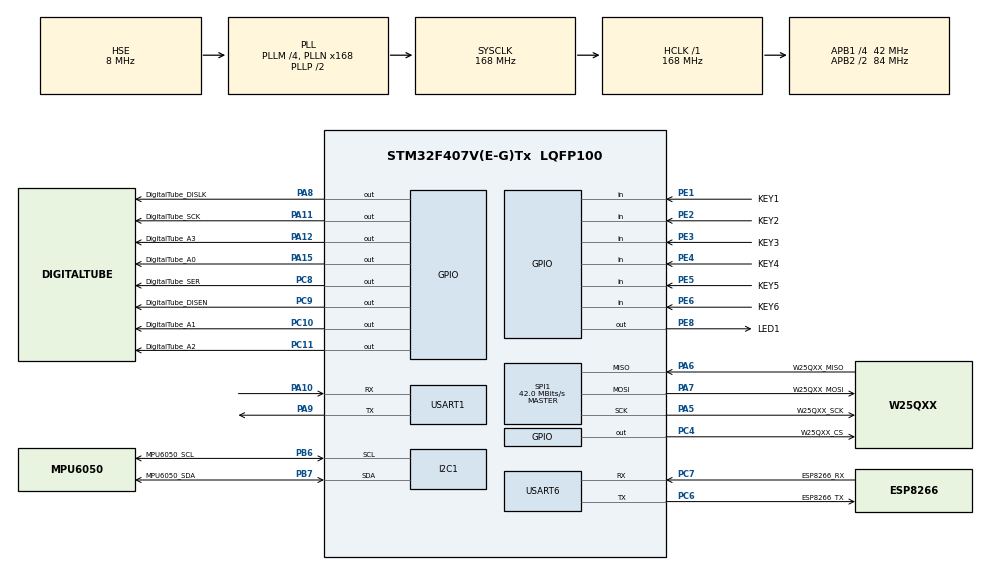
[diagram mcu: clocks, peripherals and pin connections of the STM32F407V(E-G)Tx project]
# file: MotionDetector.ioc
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FATFS._MAX_SS=4096
FREERTOS.HEAP_NUMBER=3
FREERTOS.Tasks01=MainTask,24,2048,StartMainTask,Default,NULL,Dynamic,NULL,NULL;KeyTask,24,4096,StartKeyTask,Default,NULL,Dynamic,NULL,NULL;DigitaTubeTask,24,256,StartDigitaTubeTask,Default,NULL,Dynamic,NULL,NULL;RTCTask,24,256,StartRTCTask,Default,NULL,Dynamic,NULL,NULL
FREERTOS.configTOTAL_HEAP_SIZE=80000
Mcu.Family=STM32F4
Mcu.Name=STM32F407V(E-G)Tx
Mcu.Package=LQFP100
NVIC.PriorityGroup=NVIC_PRIORITYGROUP_4
NVIC.TIM3_IRQn=true\:5\:0\:false\:false\:true\:true\:true\:true
NVIC.TIM8_TRG_COM_TIM14_IRQn=true\:0\:0\:false\:false\:true\:false\:false\:true
NVIC.TimeBase=TIM8_TRG_COM_TIM14_IRQn
NVIC.TimeBaseIP=TIM14
NVIC.USART6_IRQn=true\:5\:0\:false\:false\:true\:true\:true\:true
PA10.Mode=Asynchronous
PA10.Signal=USART1_RX
PA11.GPIO_Label=DigitalTube_SCK
PA11.Signal=GPIO_Output
PA12.GPIO_Label=DigitalTube_A3
PA12.Signal=GPIO_Output
PA13.Mode=Serial_Wire
PA13.Signal=SYS_JTMS-SWDIO
PA14.Mode=Serial_Wire
PA14.Signal=SYS_JTCK-SWCLK
PA15.GPIO_Label=DigitalTube_A0
PA15.Signal=GPIO_Output
PA5.GPIO_Label=W25QXX_SCK
PA5.Mode=Full_Duplex_Master
PA5.Signal=SPI1_SCK
PA6.GPIO_Label=W25QXX_MISO
PA6.Mode=Full_Duplex_Master
PA6.Signal=SPI1_MISO
PA7.GPIO_Label=W25QXX_MOSI
PA7.Mode=Full_Duplex_Master
PA7.Signal=SPI1_MOSI
PA8.GPIO_Label=DigitalTube_DISLK
PA8.Signal=GPIO_Output
PA9.Mode=Asynchronous
PA9.Signal=USART1_TX
PB6.GPIO_Label=MPU6050_SCL
PB6.Mode=I2C
PB6.Signal=I2C1_SCL
PB7.GPIO_Label=MPU6050_SDA
PB7.Mode=I2C
PB7.Signal=I2C1_SDA
PC10.GPIO_Label=DigitalTube_A1
PC10.Signal=GPIO_Output
PC11.GPIO_Label=DigitalTube_A2
PC11.Signal=GPIO_Output
PC14-OSC32_IN.Mode=LSE-External-Oscillator
PC14-OSC32_IN.Signal=RCC_OSC32_IN
PC15-OSC32_OUT.Mode=LSE-External-Oscillator
PC15-OSC32_OUT.Signal=RCC_OSC32_OUT
PC4.GPIO_Label=W25QXX_CS
PC4.Signal=GPIO_Output
PC6.GPIO_Label=ESP8266_TX
PC6.Mode=Asynchronous
PC6.Signal=USART6_TX
PC7.GPIO_Label=ESP8266_RX
PC7.Mode=Asynchronous
PC7.Signal=USART6_RX
PC8.GPIO_Label=DigitalTube_SER
PC8.Signal=GPIO_Output
PC9.GPIO_Label=DigitalTube_DISEN
PC9.Signal=GPIO_Output
PE1.GPIO_Label=KEY1
PE1.GPIO_PuPd=GPIO_PULLUP
PE1.Signal=GPIO_Input
PE2.GPIO_Label=KEY2
PE2.GPIO_PuPd=GPIO_PULLUP
PE2.Signal=GPIO_Input
PE3.GPIO_Label=KEY3
PE3.GPIO_PuPd=GPIO_PULLUP
PE3.Signal=GPIO_Input
PE4.GPIO_Label=KEY4
PE4.GPIO_PuPd=GPIO_PULLUP
PE4.Signal=GPIO_Input
PE5.GPIO_Label=KEY5
PE5.GPIO_PuPd=GPIO_PULLDOWN
PE5.Signal=GPIO_Input
PE6.GPIO_Label=KEY6
PE6.GPIO_PuPd=GPIO_PULLDOWN
PE6.Signal=GPIO_Input
PE8.GPIO_Label=LED1
PE8.PinState=GPIO_PIN_SET
PE8.Signal=GPIO_Output
PH0-OSC_IN.Mode=HSE-External-Oscillator
PH0-OSC_IN.Signal=RCC_OSC_IN
PH1-OSC_OUT.Mode=HSE-External-Oscillator
PH1-OSC_OUT.Signal=RCC_OSC_OUT
ProjectManager.HeapSize=0x4000
ProjectManager.StackSize=0x4000
ProjectManager.TargetToolchain=STM32CubeIDE
RCC.48MHZClocksFreq_Value=84000000
RCC.AHBFreq_Value=168000000
RCC.APB1CLKDivider=RCC_HCLK_DIV4
RCC.APB1Freq_Value=42000000
RCC.APB1TimFreq_Value=84000000
RCC.APB2CLKDivider=RCC_HCLK_DIV2
RCC.APB2Freq_Value=84000000
RCC.APB2TimFreq_Value=168000000
RCC.CortexFreq_Value=168000000
RCC.HCLKFreq_Value=168000000
RCC.HSE_VALUE=8000000
RCC.HSI_VALUE=16000000
RCC.PLLM=4
RCC.PLLN=168
RCC.PLLSourceVirtual=RCC_PLLSOURCE_HSE
RCC.RCC_RTC_Clock_Source=RCC_RTCCLKSOURCE_LSE
RCC.RCC_RTC_Clock_SourceVirtual=RCC_RTCCLKSOURCE_LSE
RCC.SYSCLKFreq_VALUE=168000000
RCC.SYSCLKSource=RCC_SYSCLKSOURCE_PLLCLK
RCC.VCOOutputFreq_Value=336000000
RTC.Date=19
RTC.Format=RTC_FORMAT_BIN
RTC.Hours=1
RTC.Minutes=5
RTC.Month=RTC_MONTH_DECEMBER
RTC.WeekDay=RTC_WEEKDAY_SATURDAY
RTC.Year=20
SPI1.CalculateBaudRate=42.0 MBits/s
SPI1.Direction=SPI_DIRECTION_2LINES
SPI1.Mode=SPI_MODE_MASTER
SPI1.VirtualType=VM_MASTER
TIM3.Period=10000-1
TIM3.Prescaler=84-1
USART1.VirtualMode=VM_ASYNC
USART6.VirtualMode=VM_ASYNC
VP_FATFS_VS_Generic.Mode=User_defined
VP_FREERTOS_VS_CMSIS_V2.Mode=CMSIS_V2
VP_RTC_VS_RTC_Activate.Mode=RTC_Enabled
VP_RTC_VS_RTC_Calendar.Mode=RTC_Calendar
VP_SYS_VS_tim14.Mode=TIM14
VP_TIM3_VS_ClockSourceINT.Mode=Internal
board=custom

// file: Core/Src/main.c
/* USER CODE BEGIN Header */
/**
  ******************************************************************************
  * @file           : main.c
  * @brief          : Main program body
  ******************************************************************************
  * @attention
  *
  * <h2><center>&copy; Copyright (c) 2020 STMicroelectronics.
  * All rights reserved.</center></h2>
  *
  * This software component is licensed by ST under Ultimate Liberty license
  * SLA0044, the "License"; You may not use this file except in compliance with
  * the License. You may obtain a copy of the License at:
  *                             www.st.com/SLA0044
  *
  ******************************************************************************
  */
/* USER CODE END Header */
#include "main.h"
#include "cmsis_os.h"
#include "fatfs.h"
#include "i2c.h"
#include "rtc.h"
#include "spi.h"
#include "tim.h"
#include "usart.h"
#include "gpio.h"

/* USER CODE BEGIN Includes */
#include <stdbool.h>
#include <stdio.h>
/* USER CODE END Includes */

/* USER CODE BEGIN PV */
uint32_t g_time_count = 0;//单位：百分秒
/* USER CODE END PV */

void SystemClock_Config(void);
void MX_FREERTOS_Init(void);

/* USER CODE BEGIN 0 */
void FS_Init(bool breset) //breset=true就重新生成新的文件
{
    BYTE work[4096]; // FATFS工作缓冲区
    FATFS fs;//文件系统对象
    FIL fil;//文件对象
    FRESULT res;//操作返回结果

    res = f_mount(&fs, "0:", 1);
    if (res == 0X0D) { // FLASH磁盘,FAT文件系统错误，重新格式化FLASH
        printf("Flash Disk Formatting...\r\n");//格式化FLASH
        res = f_mkfs("0:", FM_ANY, 0, work, sizeof(work));
        if (res != FR_OK) {
            printf("mkfs error.\r\n");
        }
    }
    if (res == FR_OK) {
        printf("FATFS Init ok!\r\n");
    }

    if (breset) {
        res = f_open(&fil, "0:/time.txt", FA_CREATE_ALWAYS);
    } else {
        res = f_open(&fil, "0:/time.txt", FA_CREATE_NEW);
    }
    if (res != FR_OK && res != FR_EXIST) {
        printf("create file error.\r\n");
    } else {
        printf("create time.txt ok\r\n");
        f_close(&fil);
    }

    if (breset) {
        res = f_open(&fil, "0:/data.txt", FA_CREATE_ALWAYS);
    } else {
        res = f_open(&fil, "0:/data.txt", FA_CREATE_NEW);
    }
    if (res != FR_OK && res != FR_EXIST) {
        printf("create file error.\r\n");
    } else {
        printf("create data.txt ok\r\n");
        f_close(&fil);
    }
}
/* USER CODE END 0 */

int main(void)
{

  /* MCU Configuration--------------------------------------------------------*/

  /* Reset of all peripherals, Initializes the Flash interface and the Systick. */
  HAL_Init();

  /* Configure the system clock */
  SystemClock_Config();

  /* Initialize all configured peripherals */
  MX_GPIO_Init();
  MX_I2C1_Init();
  MX_USART1_UART_Init();
  MX_USART6_UART_Init();
  MX_TIM3_Init();
  MX_RTC_Init();
  MX_SPI1_Init();
  MX_FATFS_Init();
  /* USER CODE BEGIN 2 */
    HAL_Delay(1000);
    FS_Init(false);
  /* USER CODE END 2 */

  /* Init scheduler */
  osKernelInitialize();  /* Call init function for freertos objects (in freertos.c) */
  MX_FREERTOS_Init();
  /* Start scheduler */
  osKernelStart();

  /* We should never get here as control is now taken by the scheduler */
  /* Infinite loop */
  while (1)
  {

  }
}

void SystemClock_Config(void)
{
  RCC_OscInitTypeDef RCC_OscInitStruct = {0};
  RCC_ClkInitTypeDef RCC_ClkInitStruct = {0};
  RCC_PeriphCLKInitTypeDef PeriphClkInitStruct = {0};

  /** Configure the main internal regulator output voltage
  */
  __HAL_RCC_PWR_CLK_ENABLE();
  __HAL_PWR_VOLTAGESCALING_CONFIG(PWR_REGULATOR_VOLTAGE_SCALE1);
  /** Initializes the RCC Oscillators according to the specified parameters
  * in the RCC_OscInitTypeDef structure.
  */
  RCC_OscInitStruct.OscillatorType = RCC_OSCILLATORTYPE_HSE|RCC_OSCILLATORTYPE_LSE;
  RCC_OscInitStruct.HSEState = RCC_HSE_ON;
  RCC_OscInitStruct.LSEState = RCC_LSE_ON;
  RCC_OscInitStruct.PLL.PLLState = RCC_PLL_ON;
  RCC_OscInitStruct.PLL.PLLSource = RCC_PLLSOURCE_HSE;
  RCC_OscInitStruct.PLL.PLLM = 4;
  RCC_OscInitStruct.PLL.PLLN = 168;
  RCC_OscInitStruct.PLL.PLLP = RCC_PLLP_DIV2;
  RCC_OscInitStruct.PLL.PLLQ = 4;
  if (HAL_RCC_OscConfig(&RCC_OscInitStruct) != HAL_OK)
  {
    Error_Handler();
  }
  /** Initializes the CPU, AHB and APB buses clocks
  */
  RCC_ClkInitStruct.ClockType = RCC_CLOCKTYPE_HCLK|RCC_CLOCKTYPE_SYSCLK
                              |RCC_CLOCKTYPE_PCLK1|RCC_CLOCKTYPE_PCLK2;
  RCC_ClkInitStruct.SYSCLKSource = RCC_SYSCLKSOURCE_PLLCLK;
  RCC_ClkInitStruct.AHBCLKDivider = RCC_SYSCLK_DIV1;
  RCC_ClkInitStruct.APB1CLKDivider = RCC_HCLK_DIV4;
  RCC_ClkInitStruct.APB2CLKDivider = RCC_HCLK_DIV2;

  if (HAL_RCC_ClockConfig(&RCC_ClkInitStruct, FLASH_LATENCY_5) != HAL_OK)
  {
    Error_Handler();
  }
  PeriphClkInitStruct.PeriphClockSelection = RCC_PERIPHCLK_RTC;
  PeriphClkInitStruct.RTCClockSelection = RCC_RTCCLKSOURCE_LSE;
  if (HAL_RCCEx_PeriphCLKConfig(&PeriphClkInitStruct) != HAL_OK)
  {
    Error_Handler();
  }
}

 /**
  * @brief  Period elapsed callback in non blocking mode
  * @note   This function is called  when TIM14 interrupt took place, inside
  * HAL_TIM_IRQHandler(). It makes a direct call to HAL_IncTick() to increment
  * a global variable "uwTick" used as application time base.
  * @param  htim : TIM handle
  * @retval None
  */
void HAL_TIM_PeriodElapsedCallback(TIM_HandleTypeDef *htim)
{
  if (htim->Instance == TIM14) {
    HAL_IncTick();
  }
  /* USER CODE BEGIN Callback 1 */
    if (htim->Instance == TIM3) {
        g_time_count++;
    }
  /* USER CODE END Callback 1 */
}

void Error_Handler(void)
{
  __disable_irq();
  while (1)
  {
  }
}

/************************ (C) COPYRIGHT STMicroelectronics *****END OF FILE****/

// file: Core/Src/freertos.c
/* USER CODE BEGIN Header */
/**
  ******************************************************************************
  * File Name          : freertos.c
  * Description        : Code for freertos applications
  ******************************************************************************
  * @attention
  *
  * <h2><center>&copy; Copyright (c) 2020 STMicroelectronics.
  * All rights reserved.</center></h2>
  *
  * This software component is licensed by ST under Ultimate Liberty license
  * SLA0044, the "License"; You may not use this file except in compliance with
  * the License. You may obtain a copy of the License at:
  *                             www.st.com/SLA0044
  *
  ******************************************************************************
  */
/* USER CODE END Header */

#include "FreeRTOS.h"
#include "task.h"
#include "main.h"
#include "cmsis_os.h"

/* USER CODE BEGIN Includes */
#include <stdio.h>
#include <stdbool.h>
#include <string.h>
#include "MPU6050.h"
#include "ESP8266.h"
#include "usart.h"
#include "tim.h"
#include "DigitalTube.h"
#include "rtc.h"
#include "fatfs.h"
#include "w25qxx.h"
/* USER CODE END Includes */

/* USER CODE BEGIN PD */
//WIFI配置
#define WIFI_NAME       "MotionDetector"
#define WIFI_PASSWD     "12345678"
#define UDP_IP          "192.168.4.2"
#define UDP_PORT        9000
//W25QXX FLASH 参数记录
#define SET_ADDR (10 * 4096)
/* USER CODE END PD */

/* USER CODE BEGIN Variables */
extern uint32_t g_time_count;

uint8_t g_seg_show = 2;//数码管默认显示秒、百分秒
uint8_t g_timetxt_count = 0;
bool g_mpu_start = false;
bool g_mpu_save = false;
char g_mpu_data[300][100];
/* USER CODE END Variables */
/* Definitions for MainTask */
osThreadId_t MainTaskHandle;
const osThreadAttr_t MainTask_attributes = {
  .name = "MainTask",
  .priority = (osPriority_t) osPriorityNormal,
  .stack_size = 2048 * 4
};
/* Definitions for KeyTask */
osThreadId_t KeyTaskHandle;
const osThreadAttr_t KeyTask_attributes = {
  .name = "KeyTask",
  .priority = (osPriority_t) osPriorityNormal,
  .stack_size = 4096 * 4
};
/* Definitions for DigitaTubeTask */
osThreadId_t DigitaTubeTaskHandle;
const osThreadAttr_t DigitaTubeTask_attributes = {
  .name = "DigitaTubeTask",
  .priority = (osPriority_t) osPriorityNormal,
  .stack_size = 256 * 4
};
/* Definitions for RTCTask */
osThreadId_t RTCTaskHandle;
const osThreadAttr_t RTCTask_attributes = {
  .name = "RTCTask",
  .priority = (osPriority_t) osPriorityNormal,
  .stack_size = 256 * 4
};

/* USER CODE BEGIN FunctionPrototypes */
void SaveTime(void);

void PrintfTime(void);

void SaveTimeCount(uint32_t addr, int data);

int LoadTimeCount(uint32_t addr);

void SaveData(void);

void PrintfData(void);

/* USER CODE END FunctionPrototypes */

void StartMainTask(void *argument);
void StartKeyTask(void *argument);
void StartDigitaTubeTask(void *argument);
void StartRTCTask(void *argument);

void MX_FREERTOS_Init(void); /* (MISRA C 2004 rule 8.1) */

void MX_FREERTOS_Init(void) {

  /* Create the thread(s) */
  /* creation of MainTask */
  MainTaskHandle = osThreadNew(StartMainTask, NULL, &MainTask_attributes);

  /* creation of KeyTask */
  KeyTaskHandle = osThreadNew(StartKeyTask, NULL, &KeyTask_attributes);

  /* creation of DigitaTubeTask */
  DigitaTubeTaskHandle = osThreadNew(StartDigitaTubeTask, NULL, &DigitaTubeTask_attributes);

  /* creation of RTCTask */
  RTCTaskHandle = osThreadNew(StartRTCTask, NULL, &RTCTask_attributes);

}

void StartMainTask(void *argument)
{
  /* USER CODE BEGIN StartMainTask */
    uint32_t tick = 0;
    int mpu_data_count = 0;

    float SelfTest[6];               // Gyro and accelerometer self-test sensor output
    float aRes, gRes;                // scale resolutions per LSB for the sensors
    int16_t accelCount[3];           // Stores the 16-bit signed accelerometer sensor output
    float ax, ay, az;                // Stores the real accel value in g's
    int16_t gyroCount[3];            // Stores the 16-bit signed gyro sensor output
    float gx, gy, gz;                // Stores the real gyro value in degrees per seconds
    float gyroBias[3], accelBias[3]; // Bias corrections for gyro and accelerometer
    int16_t tempCount;               // Stores the internal chip temperature sensor output
    float temperature;               // Scaled temperature in degrees Celsius

    if (MPU6050_Check() == MPU6050_ADDRESS) {
        MPU6050_SelfTest(SelfTest); // Start by performing self test and reporting values
        printf("x-axis self test: acceleration trim within : ");
        printf("%.1f", SelfTest[0]);
        printf("%% of factory value\r\n");
        printf("y-axis self test: acceleration trim within : ");
        printf("%.1f", SelfTest[1]);
        printf("%% of factory value\r\n");
        printf("z-axis self test: acceleration trim within : ");
        printf("%.1f", SelfTest[2]);
        printf("%% of factory value\r\n");
        printf("x-axis self test: gyration trim within : ");
        printf("%.1f", SelfTest[3]);
        printf("%% of factory value\r\n");
        printf("y-axis self test: gyration trim within : ");
        printf("%.1f", SelfTest[4]);
        printf("%% of factory value\r\n");
        printf("z-axis self test: gyration trim within : ");
        printf("%.1f", SelfTest[5]);
        printf("%% of factory value\r\n");

        if (SelfTest[0] < 1.0f && SelfTest[1] < 1.0f && SelfTest[2] < 1.0f && SelfTest[3] < 1.0f &&
            SelfTest[4] < 1.0f && SelfTest[5] < 1.0f) {
            printf("Pass Selftest!\r\n");

            MPU6050_calibrate(gyroBias, accelBias); // Calibrate gyro and accelerometers, load biases in bias registers
            MPU6050_init();
            printf("MPU6050 initialized for active data mode....\r\n"); // Initialize device for active mode read of acclerometer, gyroscope, and temperature
        } else {
            printf("Could not connect to MPU6050\r\n");
        }
    }

    HAL_UART_Receive_IT(&huart6, &rx_byte, 1);

    if (ESP8266_Init()) {
        printf("ESP8266 Init OK!\r\n");
    } else {
        printf("ESP8266 Init FAIL!\r\n");
    }

    if (ESP8266_AP(WIFI_NAME, WIFI_PASSWD)) {
        printf("ESP8266 Create AP OK!\r\n");
    } else {
        printf("ESP8266 Create AP FAIL!\r\n");
    }
//    if (ESP8266_UDP_Connect(UDP_IP,UDP_PORT)) {
//        printf("ESP8266 Create UDP OK!\r\n");
//    } else {
//        printf("ESP8266 Create UDP FAIL!\r\n");
//    }

    /* Infinite loop */
    for (;;) {
        if (g_mpu_start == true) {
            if (MPU6050_readByte(MPU6050_ADDRESS, INT_STATUS) & 0x01) {  // check if data ready interrupt
                MPU6050_readAccelData(accelCount);  // Read the x/y/z adc values
                aRes = MPU6050_getAres();

                // Now we'll calculate the accleration value into actual g's
                ax = (float) accelCount[0] * aRes -
                     accelBias[0];  // get actual g value, this depends on scale being set
                ay = (float) accelCount[1] * aRes - accelBias[1];
                az = (float) accelCount[2] * aRes - accelBias[2];

                MPU6050_readGyroData(gyroCount);  // Read the x/y/z adc values
                gRes = MPU6050_getGres();

                // Calculate the gyro value into actual degrees per second
                gx = (float) gyroCount[0] * gRes -
                     gyroBias[0];  // get actual gyro value, this depends on scale being set
                gy = (float) gyroCount[1] * gRes - gyroBias[1];
                gz = (float) gyroCount[2] * gRes - gyroBias[2];

                tempCount = MPU6050_readTempData();  // Read the x/y/z adc values
                temperature = ((float) tempCount) / 340. + 36.53; // Temperature in degrees Centigrade

                uint8_t test_min = (g_time_count / 100) / 60;
                uint8_t test_sec = (g_time_count / 100) % 60;
                uint8_t test_sec_100 = g_time_count % 100;
                sprintf(g_mpu_data[mpu_data_count],
                        "ax:%.1f,ay:%.1f,az:%.1f mg gx:%.1f,gy:%.1f,gz:%.1f deg/s (%02d:%02d:%02d)\r\n",
                        1000 * ax, 1000 * ay, 1000 * az, gx, gy, gz, test_min, test_sec, test_sec_100);
                printf("%s",g_mpu_data[mpu_data_count]);
                mpu_data_count++;
            }
        }

        if (g_mpu_save == true) {
            g_mpu_save = false;
            mpu_data_count = 0;
            SaveData();
            for (int i = 0; i < 300; ++i) {
                strcpy(g_mpu_data[i], (char *)'\0');
                printf("%s", g_mpu_data[i]);
            }
        }
        /*       if (osKernelGetTickCount() - tick > 500) {//500ms
                   // Print acceleration values in milligs!
                   printf("X-acceleration: ");
                   printf("%.1f", 1000 * ax);
                   printf(" mg ");
                   printf("Y-acceleration: ");
                   printf("%.1f", 1000 * ay);
                   printf(" mg ");
                   printf("Z-acceleration: ");
                   printf("%.1f", 1000 * az);
                   printf(" mg\r\n");

                   // Print gyro values in degree/sec
                   printf("X-gyro rate: ");
                   printf("%.1f", gx);
                   printf(" degrees/sec ");
                   printf("Y-gyro rate: ");
                   printf("%.1f", gy);
                   printf(" degrees/sec ");
                   printf("Z-gyro rate: ");
                   printf("%.1f", gz);
                   printf(" degrees/sec\r\n");

                   // Print temperature in degrees Centigrade
                   printf("Temperature is ");
                   printf("%.2f", temperature);
                   printf(" degrees C\r\n"); // Print T values to tenths of s degree C
                   printf("\r\n");

                   tick = osKernelGetTickCount();
               }*/
        osDelay(50);
    }
  /* USER CODE END StartMainTask */
}

void StartKeyTask(void *argument)
{
  /* USER CODE BEGIN StartKeyTask */
    uint8_t key_state;

    W25QXX_Init();
    printf("W25QXX FLASH ID = 0x%04X\r\n", W25QXX_ReadID());
    g_timetxt_count = LoadTimeCount(SET_ADDR);
    printf("Time Count = %lu\r\n", g_time_count);
    /* Infinite loop */
    for (;;) {
        //扫描按键
        key_state = 0;
        if (HAL_GPIO_ReadPin(KEY1_GPIO_Port, KEY1_Pin) == GPIO_PIN_RESET) {
            osDelay(10);
            if (HAL_GPIO_ReadPin(KEY1_GPIO_Port, KEY1_Pin) == GPIO_PIN_RESET) {
                key_state = 1;
            }
            while (HAL_GPIO_ReadPin(KEY1_GPIO_Port, KEY1_Pin) == GPIO_PIN_RESET) {
                osDelay(1);
            }
        } else if (HAL_GPIO_ReadPin(KEY2_GPIO_Port, KEY2_Pin) == GPIO_PIN_RESET) {
            osDelay(10);
            if (HAL_GPIO_ReadPin(KEY2_GPIO_Port, KEY2_Pin) == GPIO_PIN_RESET) {
                key_state = 2;
            }
            while (HAL_GPIO_ReadPin(KEY2_GPIO_Port, KEY2_Pin) == GPIO_PIN_RESET) {
                osDelay(1);
            }
        } else if (HAL_GPIO_ReadPin(KEY3_GPIO_Port, KEY3_Pin) == GPIO_PIN_RESET) {
            osDelay(10);
            if (HAL_GPIO_ReadPin(KEY3_GPIO_Port, KEY3_Pin) == GPIO_PIN_RESET) {
                key_state = 3;
            }
            while (HAL_GPIO_ReadPin(KEY3_GPIO_Port, KEY3_Pin) == GPIO_PIN_RESET) {
                osDelay(1);
            }
        } else if (HAL_GPIO_ReadPin(KEY4_GPIO_Port, KEY4_Pin) == GPIO_PIN_RESET) {
            osDelay(10);
            if (HAL_GPIO_ReadPin(KEY4_GPIO_Port, KEY4_Pin) == GPIO_PIN_RESET) {
                key_state = 4;
            }
            while (HAL_GPIO_ReadPin(KEY4_GPIO_Port, KEY4_Pin) == GPIO_PIN_RESET) {
                osDelay(1);
            }
        } else if (HAL_GPIO_ReadPin(KEY5_GPIO_Port, KEY5_Pin) == GPIO_PIN_SET) {
            osDelay(10);
            if (HAL_GPIO_ReadPin(KEY5_GPIO_Port, KEY5_Pin) == GPIO_PIN_SET) {
                key_state = 5;
            }
            while (HAL_GPIO_ReadPin(KEY5_GPIO_Port, KEY5_Pin) == GPIO_PIN_SET) {
                osDelay(1);
            }
        } else if (HAL_GPIO_ReadPin(KEY6_GPIO_Port, KEY6_Pin) == GPIO_PIN_SET) {
            osDelay(10);
            if (HAL_GPIO_ReadPin(KEY6_GPIO_Port, KEY6_Pin) == GPIO_PIN_SET) {
                key_state = 6;
            }
            while (HAL_GPIO_ReadPin(KEY6_GPIO_Port, KEY6_Pin) == GPIO_PIN_SET) {
                osDelay(1);
            }
        }

        //按键触发控制
        switch (key_state) {
            case 1://读取测试时间记录
                PrintfTime();
                break;
            case 2:
                g_seg_show = 1;//数码管显示分、秒
                break;
            case 3:
                g_seg_show = 2;//数码管显示秒、百分秒
                break;
            case 4:
                PrintfData();
                break;
            case 5://清零并开始计时
                g_time_count = 0;
                HAL_TIM_Base_Start_IT(&htim3);
                g_mpu_start = true;
                break;
            case 6://停止计时并记录
                HAL_TIM_Base_Stop_IT(&htim3);
                g_mpu_start = false;
                g_mpu_save = true;
                if (g_timetxt_count >= 100) {//大于100个数据时覆盖文件
                    HAL_GPIO_WritePin(LED1_GPIO_Port, LED1_Pin, GPIO_PIN_RESET);
                    FIL fil;//文件对象
                    FRESULT res;//操作返回结果
                    res = f_open(&fil, "0:/time.txt", FA_CREATE_ALWAYS);
                    if (res != FR_OK && res != FR_EXIST) {
                        printf("Save time error.\r\n");
                    } else {
                        printf("The time record data has exceeded 100. This file has been overwritten for you.\r\n");
                        f_close(&fil);
                    }
                    g_timetxt_count = 0;
                    osDelay(1000);
                    HAL_GPIO_WritePin(LED1_GPIO_Port, LED1_Pin, GPIO_PIN_SET);
                } else {
                    SaveTime();
                    g_timetxt_count++;
                    SaveTimeCount(SET_ADDR, g_timetxt_count);
                    printf("Save time OK! Now time.txt have %d data.\r\n", g_timetxt_count);
                }
                break;
            default:
                break;
        }
        osDelay(1);
    }
  /* USER CODE END StartKeyTask */
}

void StartDigitaTubeTask(void *argument)
{
  /* USER CODE BEGIN StartDigitaTubeTask */
    uint8_t seg[4] = {0};
    /* Infinite loop */
    for (;;) {
        if (g_seg_show == 1) {//分、秒
            seg[0] = ((g_time_count / 100) / 60) / 10;
            seg[1] = ((g_time_count / 100) / 60) % 10;
            seg[2] = ((g_time_count / 100) % 60) / 10;
            seg[3] = ((g_time_count / 100) % 60) % 10;
        } else if (g_seg_show == 2) {//秒、百分秒
            seg[0] = ((g_time_count / 100) % 60) / 10;
            seg[1] = ((g_time_count / 100) % 60) % 10;
            seg[2] = (g_time_count % 100) / 10;
            seg[3] = g_time_count % 10;
        }
        for (int i = 0; i < 4; ++i) {
            if (i == 1 && osKernelGetTickCount() % 1000 < 500) {
                Write595(i, seg[i], 1);
            } else {
                Write595(i, seg[i], 0);
            }
            osDelay(5);
        }
    }
  /* USER CODE END StartDigitaTubeTask */
}

void StartRTCTask(void *argument)
{
  /* USER CODE BEGIN StartRTCTask */
    uint32_t tick = 0;
    /* Infinite loop */
    for (;;) {
        if (osKernelGetTickCount() - tick >= 1000) {
            tick = osKernelGetTickCount();
            ReadRTCDateTime();
        }
        osDelay(1);
    }
  /* USER CODE END StartRTCTask */
}

/* USER CODE BEGIN Application */
void SaveTime(void) {
    FIL fil;//文件对象
    FRESULT res;//操作返回结果
    char buf[100];

    res = f_open(&fil, "0:/time.txt", FA_WRITE | FA_OPEN_APPEND);
    if (res != FR_OK) {
        printf("open file error.\r\n");
    } else {
        uint8_t test_min = (g_time_count / 100) / 60;
        uint8_t test_sec = (g_time_count / 100) % 60;
        uint8_t test_sec_100 = g_time_count % 100;
        sprintf(buf, "Test Time:%02d:%02d:%02d (%4d.%2d.%2d %02d:%02d:%02d)\r\n", test_min, test_sec, test_sec_100,
                RTC_Year, RTC_Mon, RTC_Dat, RTC_Hour,
                RTC_Min, RTC_Sec);
        f_puts(buf, &fil);
        f_close(&fil);
    }
}

void PrintfTime(void) {
    FIL fil;//文件对象
    FRESULT res;//操作返回结果
    char buf[100];

    res = f_open(&fil, "0:/time.txt", FA_READ | FA_OPEN_ALWAYS);
    if (res != FR_OK) {
        printf("open file error.\r\n");
    } else {
        f_lseek(&fil, 0);
        while (f_gets(buf, 100, &fil)) {
            printf("%s", buf);
        }
        f_close(&fil);
    }
}

void SaveTimeCount(uint32_t addr, int data) {
    W25QXX_Write((uint8_t *) (&data), addr, sizeof(data));
}

int LoadTimeCount(uint32_t addr) {
    int data = 0;
    W25QXX_Read((uint8_t *) (&data), addr, sizeof(data));

    return data;
}

void SaveData(void) {
    FIL fil;//文件对象
    FRESULT res;//操作返回结果

//    res = f_open(&fil, "0:/data.txt", FA_CREATE_ALWAYS);
//    if (res != FR_OK && res != FR_EXIST) {
//        printf("create file error.\r\n");
//    } else {
//        printf("create data.txt ok\r\n");
//        f_close(&fil);
//    }
    res = f_open(&fil, "0:/data.txt", FA_OPEN_ALWAYS | FA_WRITE);
    if (res != FR_OK) {
        printf("open file error.\r\n");
    } else {
        for (int i = 0; i < 300; ++i) {
            f_puts(g_mpu_data[i], &fil);
        }
        printf("Save MPU Data OK!\r\n");
        f_close(&fil);
    }
}

void PrintfData(void) {
    FIL fil;//文件对象
    FRESULT res;//操作返回结果
    char buf[100];

    res = f_open(&fil, "0:/data.txt", FA_READ | FA_OPEN_ALWAYS);
    if (res != FR_OK) {
        printf("open file error.\r\n");
    } else {
        f_lseek(&fil, 0);
        while (f_gets(buf, 100, &fil)) {
            printf("%s", buf);
        }
        f_close(&fil);
    }
}
/* USER CODE END Application */

/************************ (C) COPYRIGHT STMicroelectronics *****END OF FILE****/
